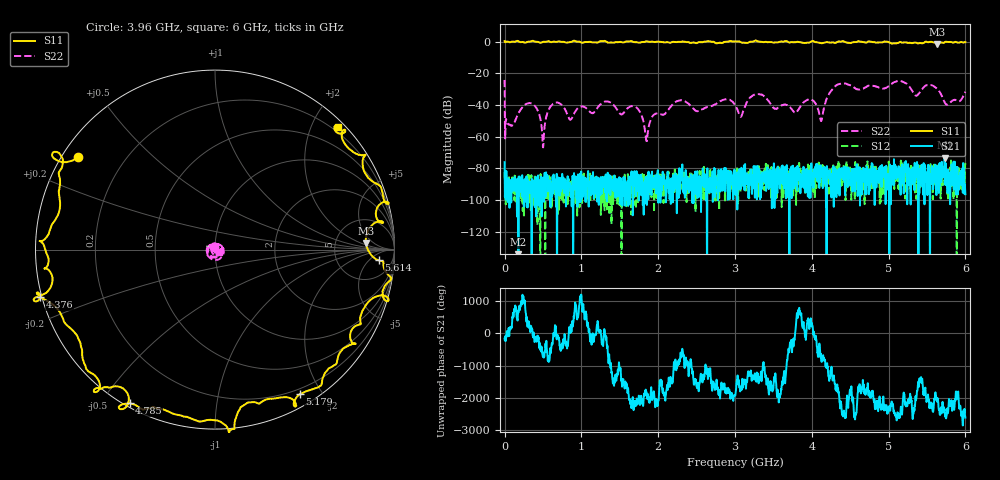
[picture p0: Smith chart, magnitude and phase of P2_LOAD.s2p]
# Hz S RI R 50
! RAW DATA - UNCALIBRATED
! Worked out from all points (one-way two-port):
!   1601 points, 30 kHz to 6 GHz, reference 50 ohm
!   highest |S21| = -73.18 dB at 5.73 GHz (marker M1); lowest = -186.2 dB at 180 MHz (marker M2)
!   lowest |S11| = -1.5 dB at 5.636 GHz (marker M3), VSWR 11.66, Z = 549 + j136 ohm
!   |S11| at or under -10 dB: nowhere
!   |S22| runs from -66.8 to -24.2 dB; largest |S21 - S12| = 0.00032
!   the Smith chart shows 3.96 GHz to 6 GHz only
!   S11 on the Smith chart (normalised r, x): 3.96 GHz: 0.04, +0.31; 4.376 GHz: -0.00, -0.13; 4.785 GHz: 0.01, -0.59; 5.179 GHz: 0.14, -1.73; 5.614 GHz: 15, -11; 6 GHz: 0.11, +2.42
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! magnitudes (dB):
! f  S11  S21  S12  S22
! 30 kHz  0.4  -76.1  -82.4  -24.2
! 33.78 MHz  0.1  -98.7  -89.0  -51.0
! 180 MHz  0.3  -186.2  -98.1  -45.3
! 371.3 MHz  0.5  -89.6  -95.3  -39.5
! 502.5 MHz  0.0  -85.9  -87.8  -66.8
! 637.5 MHz  0.0  -83.9  -95.2  -39.1
! 1.001 GHz  -0.6  -98.3  -83.7  -40.9
! 1.695 GHz  -0.3  -91.0  -89.4  -40.9
! 1.849 GHz  0.3  -102.2  -92.0  -62.4
! 2.003 GHz  0.1  -101.8  -94.3  -45.3
! 3 GHz  0.2  -94.2  -92.7  -40.0
! 3.96 GHz  -0.7  -81.5  -94.1  -36.5
! 4.001 GHz  0.3  -83.1  -84.4  -36.8
! 4.125 GHz  -1.0  -79.5  -88.8  -50.0
! 4.376 GHz  0.1  -86.0  -90.0  -26.6
! 4.785 GHz  -0.2  -81.2  -92.5  -27.8
! 5.003 GHz  -0.3  -83.6  -75.7  -28.1
! 5.179 GHz  -0.6  -84.8  -88.4  -25.2
! 5.614 GHz  -0.8  -83.3  -80.3  -29.0
! 5.636 GHz  -1.5  -79.4  -93.3  -30.0
! 5.73 GHz  -0.3  -73.2  -78.5  -38.3
! 6 GHz  -0.3  -96.4  -76.6  -31.7
